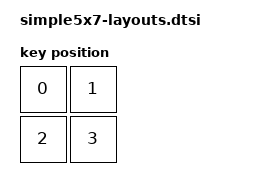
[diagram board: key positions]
#include <physical_layouts.dtsi>

/ {
    default_layout: default_layout {
        compatible = "zmk,physical-layout";
        display-name = "Default Layout";
        transform = <&default_transform>;
        kscan = <&kscan0>;    
        keys  //                     w   h    x    y     rot    rx    ry
            = <&key_physical_attrs 100 100    0    0       0     0     0>
            , <&key_physical_attrs 100 100  100    0       0     0     0>
            , <&key_physical_attrs 100 100    0  100       0     0     0>
            , <&key_physical_attrs 100 100  100  100       0     0     0>
            ;
    };

    // layout_5x6: alt_layout {
    //     compatible = "zmk,physical-layout";
    //     display-name = "Alternate Layout";
    //     transform = <&default_transform>;
    //     kscan = <&kscan0>;
    //     // keys = <...>; // List of key positions, optional
    // }

    // alt_layout: alt_layout {
    //     compatible = "zmk,physical-layout";
    //     display-name = "Alternate Layout";
    //     transform = <&alt_transform>;
    //     kscan = <&alt_kscan0>;
    //     // keys = <...>; // List of key positions, optional
    // };
    
};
